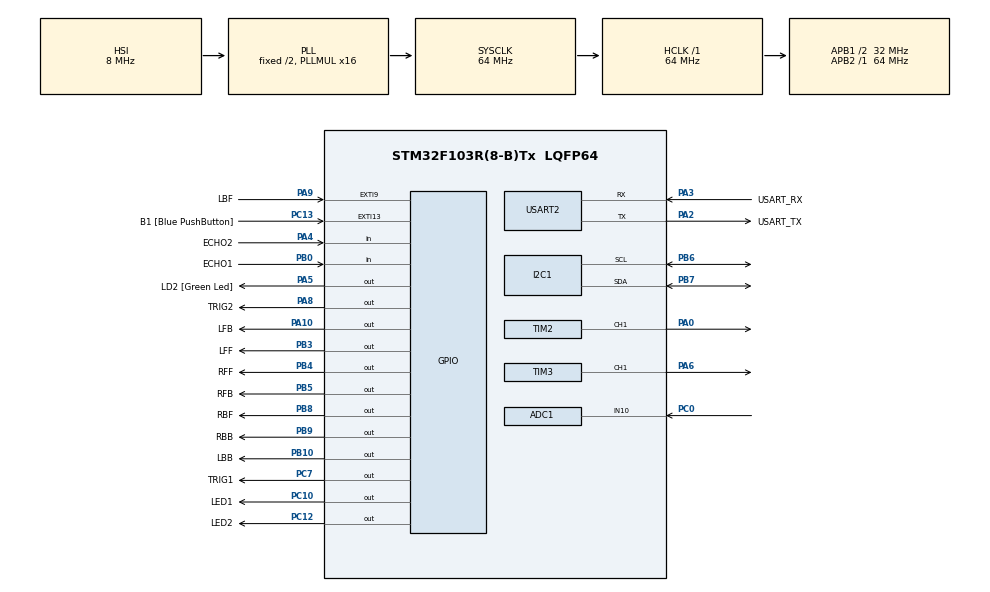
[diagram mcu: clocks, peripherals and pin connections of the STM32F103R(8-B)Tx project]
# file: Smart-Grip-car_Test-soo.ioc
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ADC1.Channel-0\#ChannelRegularConversion=ADC_CHANNEL_10
ADC1.NbrOfConversionFlag=1
ADC1.Rank-0\#ChannelRegularConversion=1
ADC1.SamplingTime-0\#ChannelRegularConversion=ADC_SAMPLETIME_13CYCLES_5
ADC1.master=1
Mcu.Family=STM32F1
Mcu.Name=STM32F103R(8-B)Tx
Mcu.Package=LQFP64
NVIC.EXTI15_10_IRQn=true\:0\:0\:false\:false\:true\:true\:true\:true
NVIC.PriorityGroup=NVIC_PRIORITYGROUP_4
PA0-WKUP.Signal=S_TIM2_CH1_ETR
PA10.GPIO_Label=LFB
PA10.Signal=GPIO_Output
PA13.GPIO_Label=TMS
PA13.Mode=Serial_Wire
PA13.Signal=SYS_JTMS-SWDIO
PA14.GPIO_Label=TCK
PA14.Mode=Serial_Wire
PA14.Signal=SYS_JTCK-SWCLK
PA2.GPIO_Label=USART_TX
PA2.GPIO_Mode=GPIO_MODE_AF_PP
PA2.GPIO_PuPd=GPIO_NOPULL
PA2.GPIO_Speed=GPIO_SPEED_FREQ_LOW
PA2.Mode=Asynchronous
PA2.Signal=USART2_TX
PA3.GPIO_Label=USART_RX
PA3.GPIO_Mode=GPIO_MODE_AF_PP
PA3.GPIO_PuPd=GPIO_NOPULL
PA3.GPIO_Speed=GPIO_SPEED_FREQ_LOW
PA3.Mode=Asynchronous
PA3.Signal=USART2_RX
PA4.GPIO_Label=ECHO2
PA4.Signal=GPIO_Input
PA5.GPIO_Label=LD2 [Green Led]
PA5.GPIO_ModeDefaultOutputPP=GPIO_MODE_OUTPUT_PP
PA5.GPIO_PuPd=GPIO_NOPULL
PA5.GPIO_Speed=GPIO_SPEED_FREQ_LOW
PA5.Signal=GPIO_Output
PA6.Signal=S_TIM3_CH1
PA8.GPIO_Label=TRIG2
PA8.Signal=GPIO_Output
PA9.GPIO_Label=LBF
PA9.Signal=GPXTI9
PB0.GPIO_Label=ECHO1
PB0.Signal=GPIO_Input
PB10.GPIO_Label=LBB
PB10.Signal=GPIO_Output
PB3.GPIO_Label=LFF
PB3.Signal=GPIO_Output
PB4.GPIO_Label=RFF
PB4.Signal=GPIO_Output
PB5.GPIO_Label=RFB
PB5.Signal=GPIO_Output
PB6.Mode=I2C
PB6.Signal=I2C1_SCL
PB7.Mode=I2C
PB7.Signal=I2C1_SDA
PB8.GPIO_Label=RBF
PB8.Signal=GPIO_Output
PB9.GPIO_Label=RBB
PB9.Signal=GPIO_Output
PC0.Signal=ADCx_IN10
PC10.GPIO_Label=LED1
PC10.Signal=GPIO_Output
PC12.GPIO_Label=LED2
PC12.Signal=GPIO_Output
PC13-TAMPER-RTC.GPIO_Label=B1 [Blue PushButton]
PC13-TAMPER-RTC.GPIO_PuPd=GPIO_NOPULL
PC13-TAMPER-RTC.Signal=GPXTI13
PC14-OSC32_IN.Signal=RCC_OSC32_IN
PC15-OSC32_OUT.Signal=RCC_OSC32_OUT
PC7.GPIO_Label=TRIG1
PC7.Signal=GPIO_Output
PD0-OSC_IN.Signal=RCC_OSC_IN
PD1-OSC_OUT.Signal=RCC_OSC_OUT
ProjectManager.HeapSize=0x200
ProjectManager.StackSize=0x400
ProjectManager.TargetToolchain=STM32CubeIDE
RCC.ADCPresc=RCC_ADCPCLK2_DIV6
RCC.AHBFreq_Value=64000000
RCC.APB1CLKDivider=RCC_HCLK_DIV2
RCC.APB1Freq_Value=32000000
RCC.APB1TimFreq_Value=64000000
RCC.APB2Freq_Value=64000000
RCC.APB2TimFreq_Value=64000000
RCC.HCLKFreq_Value=64000000
RCC.PLLMUL=RCC_PLL_MUL16
RCC.RTCClockSelection=RCC_RTCCLKSOURCE_LSE
RCC.SYSCLKFreq_VALUE=64000000
RCC.SYSCLKSource=RCC_SYSCLKSOURCE_PLLCLK
RCC.USBFreq_Value=64000000
SH.ADCx_IN10.0=ADC1_IN10,IN10
SH.S_TIM2_CH1_ETR.0=TIM2_CH1,PWM Generation1 CH1
SH.S_TIM3_CH1.0=TIM3_CH1,PWM Generation1 CH1
TIM1.AutoReloadPreload=TIM_AUTORELOAD_PRELOAD_ENABLE
TIM1.Prescaler=63
TIM2.Channel-PWM\ Generation1\ CH1=TIM_CHANNEL_1
TIM2.Period=999
TIM2.Prescaler=1279
TIM3.Channel-PWM\ Generation1\ CH1=TIM_CHANNEL_1
TIM3.Period=999
TIM3.Prescaler=1279
USART2.VirtualMode=VM_ASYNC
VP_TIM1_VS_ClockSourceINT.Mode=Internal
VP_TIM2_VS_ClockSourceINT.Mode=Internal
VP_TIM3_VS_ClockSourceINT.Mode=Internal
board=NUCLEO-F103RB

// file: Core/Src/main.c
/* USER CODE BEGIN Header */
/** 12341
  ******************************************************************************
  * @file           : main.c
  * @brief          : Main program body
  ******************************************************************************
  */
/* USER CODE END Header */
#include "main.h"

/* USER CODE BEGIN Includes */
#include <stdio.h>
/* USER CODE END Includes */

/* USER CODE BEGIN PD */
#define delay_ms HAL_Delay

#define ADDRESS   0x27 << 1
//#define ADDRESS   0x27 << 1

#define RS1_EN1   0x05
#define RS1_EN0   0x01
#define RS0_EN1   0x04
#define RS0_EN0   0x00
#define BackLight 0x08

#define MAX 125  // 2.5ms pulse width (최대 각도)
#define MIN 25   // 0.5ms pulse width (최소 각도)
#define CENTER 75 // 1.5ms pulse width (중앙 각도)
#define STEP 1
/* USER CODE END PD */

ADC_HandleTypeDef hadc1;

I2C_HandleTypeDef hi2c1;

TIM_HandleTypeDef htim1;
TIM_HandleTypeDef htim2;
TIM_HandleTypeDef htim3;

UART_HandleTypeDef huart2;

/* USER CODE BEGIN PV */
uint8_t rx_data;          // UART 수신 데이터
uint32_t echo_time = 0;   // 초음파 에코 시간
int dist = 0;             // 최종 거리 (mm)
char lcd_buf[20];

// printf 리다이렉션 설정
#ifdef __GNUC__
  #define PUTCHAR_PROTOTYPE int __io_putchar(int ch)
#else
  #define PUTCHAR_PROTOTYPE int fputc(int ch, FILE *f)
#endif

PUTCHAR_PROTOTYPE {
  if (ch == '\n') {
    HAL_UART_Transmit(&huart2, (uint8_t*)"\r", 1, 0xFFFF);
  }
  HAL_UART_Transmit(&huart2, (uint8_t*)&ch, 1, 0xFFFF);
  return ch;
}
int delay = 0;
int value = 0;

uint8_t ch;
uint8_t pos_right = 75;
uint8_t pos_left = 75;
/* USER CODE END PV */

void SystemClock_Config(void);
static void MX_GPIO_Init(void);
static void MX_USART2_UART_Init(void);
static void MX_I2C1_Init(void);
static void MX_TIM1_Init(void);
static void MX_TIM2_Init(void);
static void MX_TIM3_Init(void);
static void MX_ADC1_Init(void);
/* USER CODE BEGIN PFP */
void I2C_ScanAddresses(void);

void delay_us(int us);
void LCD_DATA(uint8_t data);
void LCD_CMD(uint8_t cmd);
void LCD_CMD_4bit(uint8_t cmd);
void LCD_INIT(void);
void LCD_XY(char x, char y);
void LCD_CLEAR(void);
void LCD_PUTS(char *str);
/* USER CODE END PFP */

/* USER CODE BEGIN 0 */
// --- 모터 제어 기본 함수 ---
void Forward() {
    HAL_GPIO_WritePin(LBF_GPIO_Port, LBF_Pin, 1); HAL_GPIO_WritePin(LBB_GPIO_Port, LBB_Pin, 0);
    HAL_GPIO_WritePin(LFF_GPIO_Port, LFF_Pin, 1); HAL_GPIO_WritePin(LFB_GPIO_Port, LFB_Pin, 0);
    HAL_GPIO_WritePin(RBF_GPIO_Port, RBF_Pin, 1); HAL_GPIO_WritePin(RBB_GPIO_Port, RBB_Pin, 0);
    HAL_GPIO_WritePin(RFF_GPIO_Port, RFF_Pin, 1); HAL_GPIO_WritePin(RFB_GPIO_Port, RFB_Pin, 0);
}

void Backward() {
    HAL_GPIO_WritePin(LBF_GPIO_Port, LBF_Pin, 0); HAL_GPIO_WritePin(LBB_GPIO_Port, LBB_Pin, 1);
    HAL_GPIO_WritePin(LFF_GPIO_Port, LFF_Pin, 0); HAL_GPIO_WritePin(LFB_GPIO_Port, LFB_Pin, 1);
    HAL_GPIO_WritePin(RBF_GPIO_Port, RBF_Pin, 0); HAL_GPIO_WritePin(RBB_GPIO_Port, RBB_Pin, 1);
    HAL_GPIO_WritePin(RFF_GPIO_Port, RFF_Pin, 0); HAL_GPIO_WritePin(RFB_GPIO_Port, RFB_Pin, 1);
}

void Right() {
    HAL_GPIO_WritePin(LBF_GPIO_Port, LBF_Pin, 1); HAL_GPIO_WritePin(LBB_GPIO_Port, LBB_Pin, 0);
    HAL_GPIO_WritePin(LFF_GPIO_Port, LFF_Pin, 1); HAL_GPIO_WritePin(LFB_GPIO_Port, LFB_Pin, 0);
    HAL_GPIO_WritePin(RBF_GPIO_Port, RBF_Pin, 0); HAL_GPIO_WritePin(RBB_GPIO_Port, RBB_Pin, 0);
    HAL_GPIO_WritePin(RFF_GPIO_Port, RFF_Pin, 0); HAL_GPIO_WritePin(RFB_GPIO_Port, RFB_Pin, 0);
}

void Left() {
    HAL_GPIO_WritePin(LBF_GPIO_Port, LBF_Pin, 0); HAL_GPIO_WritePin(LBB_GPIO_Port, LBB_Pin, 0);
    HAL_GPIO_WritePin(LFF_GPIO_Port, LFF_Pin, 0); HAL_GPIO_WritePin(LFB_GPIO_Port, LFB_Pin, 0);
    HAL_GPIO_WritePin(RBF_GPIO_Port, RBF_Pin, 1); HAL_GPIO_WritePin(RBB_GPIO_Port, RBB_Pin, 0);
    HAL_GPIO_WritePin(RFF_GPIO_Port, RFF_Pin, 1); HAL_GPIO_WritePin(RFB_GPIO_Port, RFB_Pin, 0);
}

void Stop() {
    HAL_GPIO_WritePin(GPIOA, LBF_Pin|LFB_Pin, 0);
    HAL_GPIO_WritePin(GPIOB, LBB_Pin|LFF_Pin|RFF_Pin|RFB_Pin|RBF_Pin|RBB_Pin, 0);
}

// --- 응용 이동 함수 (대각선 등) ---
void RF(int dir) { HAL_GPIO_WritePin(RFF_GPIO_Port, RFF_Pin, dir==1); HAL_GPIO_WritePin(RFB_GPIO_Port, RFB_Pin, dir==2); }
void LF(int dir) { HAL_GPIO_WritePin(LFF_GPIO_Port, LFF_Pin, dir==1); HAL_GPIO_WritePin(LFB_GPIO_Port, LFB_Pin, dir==2); }
void RB(int dir) { HAL_GPIO_WritePin(RBF_GPIO_Port, RBF_Pin, dir==1); HAL_GPIO_WritePin(RBB_GPIO_Port, RBB_Pin, dir==2); }
void LB(int dir) { HAL_GPIO_WritePin(LBF_GPIO_Port, LBF_Pin, dir==1); HAL_GPIO_WritePin(LBB_GPIO_Port, LBB_Pin, dir==2); }

void TRF() { RF(0); LF(1); RB(0); LB(1); }
void TLF() { RF(1); LF(0); RB(1); LB(0); }
void TRB() { RF(0); LF(2); RB(0); LB(2); }
void TLB() { RF(2); LF(0); RB(2); LB(0); }

// --- 초음파 센서 제어 ---
void trig() {
    HAL_GPIO_WritePin(TRIG1_GPIO_Port, TRIG1_Pin, 0);
    delay_us(2);
    HAL_GPIO_WritePin(TRIG1_GPIO_Port, TRIG1_Pin, 1);
    delay_us(10);
    HAL_GPIO_WritePin(TRIG1_GPIO_Port, TRIG1_Pin, 0);
}

uint32_t echo() {
    uint32_t start_time = 0;
    uint32_t timeout = 50000;
    while (HAL_GPIO_ReadPin(ECHO1_GPIO_Port, ECHO1_Pin) == 0 && timeout--);
    start_time = __HAL_TIM_GET_COUNTER(&htim1);
    timeout = 50000;
    while (HAL_GPIO_ReadPin(ECHO1_GPIO_Port, ECHO1_Pin) == 1 && timeout--);
    return __HAL_TIM_GET_COUNTER(&htim1) - start_time;
}
// --- CLCD 게이지바 출력 함수 추가 ---
void LCD_DrawGauge(int distance_cm) {
    char gauge[17];
    int num_bars = distance_cm / 5; // 5cm당 한 칸 (최대 80cm 표시)

    if (num_bars > 16) num_bars = 16;
    if (num_bars < 0) num_bars = 0;

    for (int i = 0; i < 16; i++) {
        if (i < num_bars) gauge[i] = 0xFF; // 꽉 찬 블록
        else gauge[i] = ' ';              // 빈 칸
    }
    gauge[16] = '\0';

    LCD_XY(0, 1); // 2행에 출력
    LCD_PUTS(gauge);
}

void I2C_ScanAddresses(void) {
    HAL_StatusTypeDef result;
    uint8_t i;

    printf("Scanning I2C addresses...\r\n");

    for (i = 1; i < 128; i++) {
        /*
         * HAL_I2C_IsDeviceReady: If a device at the specified address exists return HAL_OK.
         * Since I2C devices must have an 8-bit address, the 7-bit address is shifted left by 1 bit.
         */
        result = HAL_I2C_IsDeviceReady(&hi2c1, (uint16_t)(i << 1), 1, 10);
        if (result == HAL_OK) {
            printf("I2C device found at address 0x%02X\r\n", i);
        }
    }

    printf("Scan complete.\r\n");
}

void delay_us(int us){
	value = 3;
	delay = us * value;
	for(int i=0;i < delay;i++);
}

void LCD_DATA(uint8_t data) {
	uint8_t temp=(data & 0xF0)|RS1_EN1|BackLight;

	while(HAL_I2C_Master_Transmit(&hi2c1, ADDRESS, &temp, 1, 1000)!=HAL_OK);
	temp=(data & 0xF0)|RS1_EN0|BackLight;
	while(HAL_I2C_Master_Transmit(&hi2c1, ADDRESS, &temp, 1, 1000)!=HAL_OK);
	delay_us(4);

	temp=((data << 4) & 0xF0)|RS1_EN1|BackLight;
	while(HAL_I2C_Master_Transmit(&hi2c1, ADDRESS, &temp, 1, 1000)!=HAL_OK);
	temp = ((data << 4) & 0xF0)|RS1_EN0|BackLight;
	while(HAL_I2C_Master_Transmit(&hi2c1, ADDRESS, &temp, 1, 1000)!=HAL_OK);
	delay_us(50);
}

void LCD_CMD(uint8_t cmd) {
	uint8_t temp=(cmd & 0xF0)|RS0_EN1|BackLight;
	while(HAL_I2C_Master_Transmit(&hi2c1, ADDRESS, &temp, 1, 1000)!=HAL_OK);
	temp=(cmd & 0xF0)|RS0_EN0|BackLight;
	while(HAL_I2C_Master_Transmit(&hi2c1, ADDRESS, &temp, 1, 1000)!=HAL_OK);
	delay_us(4);

	temp=((cmd << 4) & 0xF0)|RS0_EN1|BackLight;
	while(HAL_I2C_Master_Transmit(&hi2c1, ADDRESS, &temp, 1, 1000)!=HAL_OK);
	temp=((cmd << 4) & 0xF0)|RS0_EN0|BackLight;
	while(HAL_I2C_Master_Transmit(&hi2c1, ADDRESS, &temp, 1, 1000)!=HAL_OK);
	delay_us(50);
}

void LCD_CMD_4bit(uint8_t cmd) {
	uint8_t temp=((cmd << 4) & 0xF0)|RS0_EN1|BackLight;
	while(HAL_I2C_Master_Transmit(&hi2c1, ADDRESS, &temp, 1, 1000)!=HAL_OK);
	temp=((cmd << 4) & 0xF0)|RS0_EN0|BackLight;
	while(HAL_I2C_Master_Transmit(&hi2c1, ADDRESS, &temp, 1, 1000)!=HAL_OK);
	delay_us(50);
}

void LCD_INIT(void) {

	delay_ms(100);

	LCD_CMD_4bit(0x03); delay_ms(5);
	LCD_CMD_4bit(0x03); delay_us(100);
	LCD_CMD_4bit(0x03); delay_us(100);
	LCD_CMD_4bit(0x02); delay_us(100);
	LCD_CMD(0x28);  // 4 bits, 2 line, 5x8 font
	LCD_CMD(0x08);  // display off, cursor off, blink off
	LCD_CMD(0x01);  // clear display
	delay_ms(3);
	LCD_CMD(0x06);  // cursor movint direction
	LCD_CMD(0x0C);  // display on, cursor off, blink off
}

void LCD_XY(char x, char y) {
	if      (y == 0) LCD_CMD(0x80 + x);
	else if (y == 1) LCD_CMD(0xC0 + x);
	else if (y == 2) LCD_CMD(0x94 + x);
	else if (y == 3) LCD_CMD(0xD4 + x);
}

void LCD_CLEAR(void) {
	LCD_CMD(0x01);
	delay_ms(2);
}

void LCD_PUTS(char *str) {
	while (*str) LCD_DATA(*str++);
}

/* USER CODE END 0 */

int main(void)
{

  /* USER CODE BEGIN 1 */
	uint32_t adc_value = 0;
	float voltage = 0.0f;
	uint32_t counter = 0;
  /* USER CODE END 1 */

  /* MCU Configuration--------------------------------------------------------*/

  /* Reset of all peripherals, Initializes the Flash interface and the Systick. */
  HAL_Init();

  /* Configure the system clock */
  SystemClock_Config();

  /* Initialize all configured peripherals */
  MX_GPIO_Init();
  MX_USART2_UART_Init();
  MX_I2C1_Init();
  MX_TIM1_Init();
  MX_TIM2_Init();
  MX_TIM3_Init();
  MX_ADC1_Init();
  /* USER CODE BEGIN 2 */
  HAL_TIM_Base_Start(&htim1);
  printf("\n=== Smart Grip Car Start ===\n");
  printf("w:전진, s:후진, a:좌회전, d:우회전, x:정지\n");

  I2C_ScanAddresses();

  LCD_INIT();
  LCD_XY(0, 0) ; LCD_PUTS((char *)"LCD Display test");
  LCD_XY(0, 1) ; LCD_PUTS((char *)"Hello World.....");

  HAL_TIM_PWM_Start(&htim2, TIM_CHANNEL_1);
    HAL_TIM_PWM_Start(&htim3, TIM_CHANNEL_1);

    // 초기 위치 설정
    __HAL_TIM_SET_COMPARE(&htim2, TIM_CHANNEL_1, pos_right);
    __HAL_TIM_SET_COMPARE(&htim3, TIM_CHANNEL_1, pos_left);

    printf("Servo Control Ready\r\n");
    printf("Commands: w(up), s(down), a(left), d(right), i(center)\r\n");

    printf("STM32F103 CDS Sensor Reading Example\r\n");
      printf("System Clock: 64MHz\r\n");
      printf("ADC Channel: PC0\r\n");
      printf("Starting measurements...\r\n\r\n");

      /* Calibrate ADC */
      HAL_ADCEx_Calibration_Start(&hadc1);
  /* USER CODE END 2 */

  /* Infinite loop */
  /* USER CODE BEGIN WHILE */
  HAL_StatusTypeDef status;

  while (1)
	  {
	        // 1. 초음파 거리 측정 및 cm 변환
	        trig();
	        echo_time = echo();

	        if(echo_time > 0 && echo_time < 30000) {
	            dist = (int)(echo_time / 58); // cm 단위 계산
	        }

	        // 2. CLCD 출력 (1행 숫자, 2행 게이지)
	        sprintf(lcd_buf, "Distance: %3d cm", dist);
	        LCD_XY(0, 0);
	        LCD_PUTS(lcd_buf);

	        LCD_DrawGauge(dist); // 오타 수정: wdist -> dist

	        // 3. 일반 키보드 제어
	        status = HAL_UART_Receive(&huart2, &rx_data, 1, 10);
	        if (status == HAL_OK)
	        {
	            // 터미널 출력도 cm 단위에 맞춰 보기 좋게 수정
	            printf("\rDist: %3d cm | Input: %c          ", dist, rx_data);

	            switch (rx_data) {
	                case 'w': case 'W': Forward();  break; // 거리 체크 없이 바로 전진
	                case 's': case 'S': Backward(); break;
	                case 'a': case 'A': Left();     break;
	                case 'd': case 'D': Right();    break;
	                case 'x': case 'X': Stop();      break;
	                case 'e': case 'E': TRF();       break;
	                case 'q': case 'Q': TLF();       break;
	                case 'c': case 'C': TRB();       break;
	                case 'z': case 'Z': TLB();       break;
	                default: Stop(); break;
	            }

	              if(rx_data == 'y')
	              {
	                printf("center\r\n");
	                  pos_left = 75;
	                  pos_right = 75;
	                  HAL_GPIO_WritePin(LED1_GPIO_Port, LED1_Pin, 0);
	                  HAL_GPIO_WritePin(LED2_GPIO_Port, LED2_Pin, 0);
	              }
	              else if(rx_data == 'u')
	              {
	            	  printf("hold\r\n");
	                  pos_left = 55; //left
	                  pos_right = 95;
	                  HAL_GPIO_WritePin(LED1_GPIO_Port, LED1_Pin, 1);
	                  HAL_GPIO_WritePin(LED2_GPIO_Port, LED2_Pin, 0);
	              }
	              else if(rx_data == 'i')
	              {
	            	  printf("relese\r\n");
	                  pos_left = 95; //left
	                  pos_right = 55;
	                  HAL_GPIO_WritePin(LED1_GPIO_Port, LED1_Pin, 0);
	                  HAL_GPIO_WritePin(LED2_GPIO_Port, LED2_Pin, 1);
	              }
	              else if(rx_data == 'o')
	              {
	            	  printf("center\r\n");
	                  pos_left = 75;
	                  pos_right = 75;
	              }
	              else if(rx_data == 'p')
	              {
	            	  printf("center\r\n");
	                  pos_left = 75;
	                  pos_right = 75;
	              }

	              // PWM 듀티 사이클 업데이트
	              __HAL_TIM_SET_COMPARE(&htim2, TIM_CHANNEL_1, pos_right);
	              __HAL_TIM_SET_COMPARE(&htim3, TIM_CHANNEL_1, pos_left);

	              printf("Pan: %d, Tilt: %d\r\n", pos_right, pos_left);
	        }

	        /* Start ADC conversion */
	        	    HAL_ADC_Start(&hadc1);

	        	    /* Wait for conversion to complete */
	        	    if (HAL_ADC_PollForConversion(&hadc1, 100) == HAL_OK)
	        	    {
	        	      /* Get ADC value */
	        	      adc_value = HAL_ADC_GetValue(&hadc1);

	        	      /* Convert ADC value to voltage (3.3V reference, 12-bit ADC) */
	        	      voltage = (adc_value * 3.3f) / 4095.0f;

	        	      /* Print results */
	        	      printf("[%lu] CDS ADC Value: %lu, Voltage: %.3fV\r\n",counter++, adc_value, voltage);

	        	      /* CDS 센서 값에 따른 조도 상태 출력 */
	        	      if (voltage < 0.5f)
	        	      {
	        	        printf("       Light Level: Very Dark\r\n");
	        	      }
	        	      else if (voltage < 1.0f)
	        	      {
	        	        printf("       Light Level: Dark\r\n");
	        	      }
	        	      else if (voltage < 2.0f)
	        	      {
	        	        printf("       Light Level: Medium\r\n");
		                  HAL_GPIO_WritePin(LED1_GPIO_Port, LED1_Pin, 0);
		                  HAL_GPIO_WritePin(LED2_GPIO_Port, LED2_Pin, 1);
	        	      }
	        	      else if (voltage < 2.5f)
	        	      {
	        	        printf("       Light Level: Bright\r\n");
	        	      }
	        	      else
	        	      {
	        	        printf("       Light Level: Very Bright\r\n");
		                  HAL_GPIO_WritePin(LED1_GPIO_Port, LED1_Pin, 0);
		                  HAL_GPIO_WritePin(LED2_GPIO_Port, LED2_Pin, 0);
	        	      }
	        	      printf("\r\n");
	        	    }

	        	    /* Stop ADC */
	        	    HAL_ADC_Stop(&hadc1);

//	        if(HAL_UART_Receive(&huart2, &ch, sizeof(ch), 10) == HAL_OK)
//	            {

	              HAL_Delay(100);

    /* USER CODE END WHILE */

  }
}

void SystemClock_Config(void)
{
  RCC_OscInitTypeDef RCC_OscInitStruct = {0};
  RCC_ClkInitTypeDef RCC_ClkInitStruct = {0};
  RCC_PeriphCLKInitTypeDef PeriphClkInit = {0};

  /** Initializes the RCC Oscillators according to the specified parameters
  * in the RCC_OscInitTypeDef structure.
  */
  RCC_OscInitStruct.OscillatorType = RCC_OSCILLATORTYPE_HSI;
  RCC_OscInitStruct.HSIState = RCC_HSI_ON;
  RCC_OscInitStruct.HSICalibrationValue = RCC_HSICALIBRATION_DEFAULT;
  RCC_OscInitStruct.PLL.PLLState = RCC_PLL_ON;
  RCC_OscInitStruct.PLL.PLLSource = RCC_PLLSOURCE_HSI_DIV2;
  RCC_OscInitStruct.PLL.PLLMUL = RCC_PLL_MUL16;
  if (HAL_RCC_OscConfig(&RCC_OscInitStruct) != HAL_OK)
  {
    Error_Handler();
  }

  /** Initializes the CPU, AHB and APB buses clocks
  */
  RCC_ClkInitStruct.ClockType = RCC_CLOCKTYPE_HCLK|RCC_CLOCKTYPE_SYSCLK
                              |RCC_CLOCKTYPE_PCLK1|RCC_CLOCKTYPE_PCLK2;
  RCC_ClkInitStruct.SYSCLKSource = RCC_SYSCLKSOURCE_PLLCLK;
  RCC_ClkInitStruct.AHBCLKDivider = RCC_SYSCLK_DIV1;
  RCC_ClkInitStruct.APB1CLKDivider = RCC_HCLK_DIV2;
  RCC_ClkInitStruct.APB2CLKDivider = RCC_HCLK_DIV1;

  if (HAL_RCC_ClockConfig(&RCC_ClkInitStruct, FLASH_LATENCY_2) != HAL_OK)
  {
    Error_Handler();
  }
  PeriphClkInit.PeriphClockSelection = RCC_PERIPHCLK_ADC;
  PeriphClkInit.AdcClockSelection = RCC_ADCPCLK2_DIV6;
  if (HAL_RCCEx_PeriphCLKConfig(&PeriphClkInit) != HAL_OK)
  {
    Error_Handler();
  }
}

static void MX_ADC1_Init(void)
{

  ADC_ChannelConfTypeDef sConfig = {0};

  /** Common config
  */
  hadc1.Instance = ADC1;
  hadc1.Init.ScanConvMode = ADC_SCAN_DISABLE;
  hadc1.Init.ContinuousConvMode = DISABLE;
  hadc1.Init.DiscontinuousConvMode = DISABLE;
  hadc1.Init.ExternalTrigConv = ADC_SOFTWARE_START;
  hadc1.Init.DataAlign = ADC_DATAALIGN_RIGHT;
  hadc1.Init.NbrOfConversion = 1;
  if (HAL_ADC_Init(&hadc1) != HAL_OK)
  {
    Error_Handler();
  }

  /** Configure Regular Channel
  */
  sConfig.Channel = ADC_CHANNEL_10;
  sConfig.Rank = ADC_REGULAR_RANK_1;
  sConfig.SamplingTime = ADC_SAMPLETIME_13CYCLES_5;
  if (HAL_ADC_ConfigChannel(&hadc1, &sConfig) != HAL_OK)
  {
    Error_Handler();
  }

}

static void MX_I2C1_Init(void)
{

  hi2c1.Instance = I2C1;
  hi2c1.Init.ClockSpeed = 100000;
  hi2c1.Init.DutyCycle = I2C_DUTYCYCLE_2;
  hi2c1.Init.OwnAddress1 = 0;
  hi2c1.Init.AddressingMode = I2C_ADDRESSINGMODE_7BIT;
  hi2c1.Init.DualAddressMode = I2C_DUALADDRESS_DISABLE;
  hi2c1.Init.OwnAddress2 = 0;
  hi2c1.Init.GeneralCallMode = I2C_GENERALCALL_DISABLE;
  hi2c1.Init.NoStretchMode = I2C_NOSTRETCH_DISABLE;
  if (HAL_I2C_Init(&hi2c1) != HAL_OK)
  {
    Error_Handler();
  }

}

static void MX_TIM1_Init(void)
{

  TIM_ClockConfigTypeDef sClockSourceConfig = {0};
  TIM_MasterConfigTypeDef sMasterConfig = {0};

  htim1.Instance = TIM1;
  htim1.Init.Prescaler = 63;
  htim1.Init.CounterMode = TIM_COUNTERMODE_UP;
  htim1.Init.Period = 65535;
  htim1.Init.ClockDivision = TIM_CLOCKDIVISION_DIV1;
  htim1.Init.RepetitionCounter = 0;
  htim1.Init.AutoReloadPreload = TIM_AUTORELOAD_PRELOAD_ENABLE;
  if (HAL_TIM_Base_Init(&htim1) != HAL_OK)
  {
    Error_Handler();
  }
  sClockSourceConfig.ClockSource = TIM_CLOCKSOURCE_INTERNAL;
  if (HAL_TIM_ConfigClockSource(&htim1, &sClockSourceConfig) != HAL_OK)
  {
    Error_Handler();
  }
  sMasterConfig.MasterOutputTrigger = TIM_TRGO_RESET;
  sMasterConfig.MasterSlaveMode = TIM_MASTERSLAVEMODE_DISABLE;
  if (HAL_TIMEx_MasterConfigSynchronization(&htim1, &sMasterConfig) != HAL_OK)
  {
    Error_Handler();
  }

}

static void MX_TIM2_Init(void)
{

  TIM_ClockConfigTypeDef sClockSourceConfig = {0};
  TIM_MasterConfigTypeDef sMasterConfig = {0};
  TIM_OC_InitTypeDef sConfigOC = {0};

  htim2.Instance = TIM2;
  htim2.Init.Prescaler = 1279;
  htim2.Init.CounterMode = TIM_COUNTERMODE_UP;
  htim2.Init.Period = 999;
  htim2.Init.ClockDivision = TIM_CLOCKDIVISION_DIV1;
  htim2.Init.AutoReloadPreload = TIM_AUTORELOAD_PRELOAD_DISABLE;
  if (HAL_TIM_Base_Init(&htim2) != HAL_OK)
  {
    Error_Handler();
  }
  sClockSourceConfig.ClockSource = TIM_CLOCKSOURCE_INTERNAL;
  if (HAL_TIM_ConfigClockSource(&htim2, &sClockSourceConfig) != HAL_OK)
  {
    Error_Handler();
  }
  if (HAL_TIM_PWM_Init(&htim2) != HAL_OK)
  {
    Error_Handler();
  }
  sMasterConfig.MasterOutputTrigger = TIM_TRGO_RESET;
  sMasterConfig.MasterSlaveMode = TIM_MASTERSLAVEMODE_DISABLE;
  if (HAL_TIMEx_MasterConfigSynchronization(&htim2, &sMasterConfig) != HAL_OK)
  {
    Error_Handler();
  }
  sConfigOC.OCMode = TIM_OCMODE_PWM1;
  sConfigOC.Pulse = 0;
  sConfigOC.OCPolarity = TIM_OCPOLARITY_HIGH;
  sConfigOC.OCFastMode = TIM_OCFAST_DISABLE;
  if (HAL_TIM_PWM_ConfigChannel(&htim2, &sConfigOC, TIM_CHANNEL_1) != HAL_OK)
  {
    Error_Handler();
  }
  HAL_TIM_MspPostInit(&htim2);

}

static void MX_TIM3_Init(void)
{

  TIM_ClockConfigTypeDef sClockSourceConfig = {0};
  TIM_MasterConfigTypeDef sMasterConfig = {0};
  TIM_OC_InitTypeDef sConfigOC = {0};

  htim3.Instance = TIM3;
  htim3.Init.Prescaler = 1279;
  htim3.Init.CounterMode = TIM_COUNTERMODE_UP;
  htim3.Init.Period = 999;
  htim3.Init.ClockDivision = TIM_CLOCKDIVISION_DIV1;
  htim3.Init.AutoReloadPreload = TIM_AUTORELOAD_PRELOAD_DISABLE;
  if (HAL_TIM_Base_Init(&htim3) != HAL_OK)
  {
    Error_Handler();
  }
  sClockSourceConfig.ClockSource = TIM_CLOCKSOURCE_INTERNAL;
  if (HAL_TIM_ConfigClockSource(&htim3, &sClockSourceConfig) != HAL_OK)
  {
    Error_Handler();
  }
  if (HAL_TIM_PWM_Init(&htim3) != HAL_OK)
  {
    Error_Handler();
  }
  sMasterConfig.MasterOutputTrigger = TIM_TRGO_RESET;
  sMasterConfig.MasterSlaveMode = TIM_MASTERSLAVEMODE_DISABLE;
  if (HAL_TIMEx_MasterConfigSynchronization(&htim3, &sMasterConfig) != HAL_OK)
  {
    Error_Handler();
  }
  sConfigOC.OCMode = TIM_OCMODE_PWM1;
  sConfigOC.Pulse = 0;
  sConfigOC.OCPolarity = TIM_OCPOLARITY_HIGH;
  sConfigOC.OCFastMode = TIM_OCFAST_DISABLE;
  if (HAL_TIM_PWM_ConfigChannel(&htim3, &sConfigOC, TIM_CHANNEL_1) != HAL_OK)
  {
    Error_Handler();
  }
  HAL_TIM_MspPostInit(&htim3);

}

static void MX_USART2_UART_Init(void)
{

  huart2.Instance = USART2;
  huart2.Init.BaudRate = 115200;
  huart2.Init.WordLength = UART_WORDLENGTH_8B;
  huart2.Init.StopBits = UART_STOPBITS_1;
  huart2.Init.Parity = UART_PARITY_NONE;
  huart2.Init.Mode = UART_MODE_TX_RX;
  huart2.Init.HwFlowCtl = UART_HWCONTROL_NONE;
  huart2.Init.OverSampling = UART_OVERSAMPLING_16;
  if (HAL_UART_Init(&huart2) != HAL_OK)
  {
    Error_Handler();
  }

}

static void MX_GPIO_Init(void)
{
  GPIO_InitTypeDef GPIO_InitStruct = {0};

  /* GPIO Ports Clock Enable */
  __HAL_RCC_GPIOC_CLK_ENABLE();
  __HAL_RCC_GPIOD_CLK_ENABLE();
  __HAL_RCC_GPIOA_CLK_ENABLE();
  __HAL_RCC_GPIOB_CLK_ENABLE();

  /*Configure GPIO pin Output Level */
  HAL_GPIO_WritePin(GPIOA, LD2_Pin|TRIG2_Pin|LBF_Pin|LFB_Pin, GPIO_PIN_RESET);

  /*Configure GPIO pin Output Level */
  HAL_GPIO_WritePin(GPIOB, LBB_Pin|LFF_Pin|RFF_Pin|RFB_Pin
                          |RBF_Pin|RBB_Pin, GPIO_PIN_RESET);

  /*Configure GPIO pin Output Level */
  HAL_GPIO_WritePin(GPIOC, TRIG1_Pin|LED1_Pin|LED2_Pin, GPIO_PIN_RESET);

  /*Configure GPIO pin : B1_Pin */
  GPIO_InitStruct.Pin = B1_Pin;
  GPIO_InitStruct.Mode = GPIO_MODE_IT_RISING;
  GPIO_InitStruct.Pull = GPIO_NOPULL;
  HAL_GPIO_Init(B1_GPIO_Port, &GPIO_InitStruct);

  /*Configure GPIO pin : ECHO2_Pin */
  GPIO_InitStruct.Pin = ECHO2_Pin;
  GPIO_InitStruct.Mode = GPIO_MODE_INPUT;
  GPIO_InitStruct.Pull = GPIO_NOPULL;
  HAL_GPIO_Init(ECHO2_GPIO_Port, &GPIO_InitStruct);

  /*Configure GPIO pins : LD2_Pin TRIG2_Pin LBF_Pin LFB_Pin */
  GPIO_InitStruct.Pin = LD2_Pin|TRIG2_Pin|LBF_Pin|LFB_Pin;
  GPIO_InitStruct.Mode = GPIO_MODE_OUTPUT_PP;
  GPIO_InitStruct.Pull = GPIO_NOPULL;
  GPIO_InitStruct.Speed = GPIO_SPEED_FREQ_LOW;
  HAL_GPIO_Init(GPIOA, &GPIO_InitStruct);

  /*Configure GPIO pin : ECHO1_Pin */
  GPIO_InitStruct.Pin = ECHO1_Pin;
  GPIO_InitStruct.Mode = GPIO_MODE_INPUT;
  GPIO_InitStruct.Pull = GPIO_NOPULL;
  HAL_GPIO_Init(ECHO1_GPIO_Port, &GPIO_InitStruct);

  /*Configure GPIO pins : LBB_Pin LFF_Pin RFF_Pin RFB_Pin
                           RBF_Pin RBB_Pin */
  GPIO_InitStruct.Pin = LBB_Pin|LFF_Pin|RFF_Pin|RFB_Pin
                          |RBF_Pin|RBB_Pin;
  GPIO_InitStruct.Mode = GPIO_MODE_OUTPUT_PP;
  GPIO_InitStruct.Pull = GPIO_NOPULL;
  GPIO_InitStruct.Speed = GPIO_SPEED_FREQ_LOW;
  HAL_GPIO_Init(GPIOB, &GPIO_InitStruct);

  /*Configure GPIO pins : TRIG1_Pin LED1_Pin LED2_Pin */
  GPIO_InitStruct.Pin = TRIG1_Pin|LED1_Pin|LED2_Pin;
  GPIO_InitStruct.Mode = GPIO_MODE_OUTPUT_PP;
  GPIO_InitStruct.Pull = GPIO_NOPULL;
  GPIO_InitStruct.Speed = GPIO_SPEED_FREQ_LOW;
  HAL_GPIO_Init(GPIOC, &GPIO_InitStruct);

  /* EXTI interrupt init*/
  HAL_NVIC_SetPriority(EXTI15_10_IRQn, 0, 0);
  HAL_NVIC_EnableIRQ(EXTI15_10_IRQn);

}

void Error_Handler(void)
{
  __disable_irq();
  while (1)
  {
  }
}
